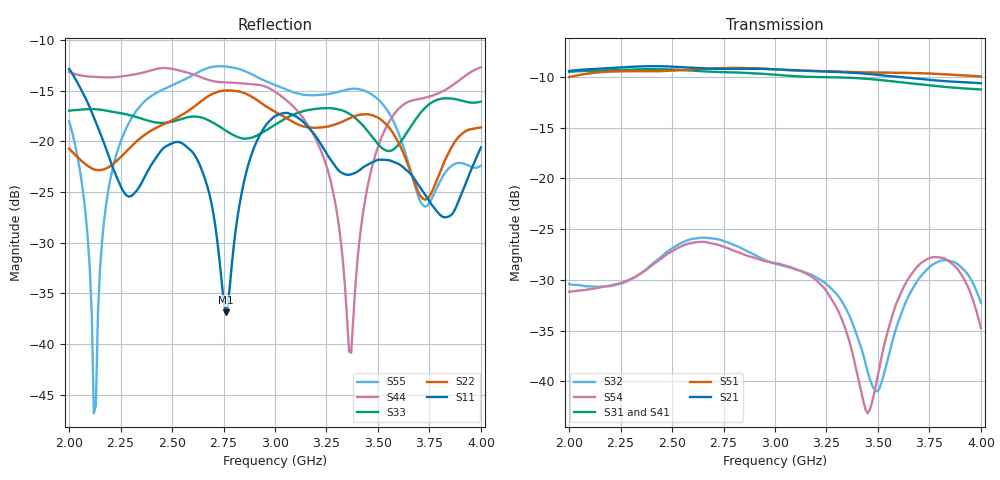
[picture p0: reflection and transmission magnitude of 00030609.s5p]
! Created with skrf 1.8.0 (http://scikit-rf.org).
# Hz S RI R 50.0
!freq ReS11 ImS11 ReS12 ImS12 ReS13 ImS13
! ReS14 ImS14 ReS15 ImS15
! ReS21 ImS21 ReS22 ImS22 ReS23 ImS23
! ReS24 ImS24 ReS25 ImS25
! ReS31 ImS31 ReS32 ImS32 ReS33 ImS33
! ReS34 ImS34 ReS35 ImS35
! ReS41 ImS41 ReS42 ImS42 ReS43 ImS43
! ReS44 ImS44 ReS45 ImS45
! ReS51 ImS51 ReS52 ImS52 ReS53 ImS53
! ReS54 ImS54 ReS55 ImS55
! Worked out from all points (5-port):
!   201 points, 2 GHz to 4 GHz, reference 50 ohm
!   strongest paths, dB at 2 GHz, 2.5 GHz, 3 GHz, 3.5 GHz, 4 GHz:
!     S21: -9.4, -9.0, -9.2, -9.8, -10.6
!     S51: -10.0, -9.4, -9.3, -9.6, -10.0
!     S31: -9.5, -9.3, -9.8, -10.3, -11.2
!     S41: -9.1, -9.2, -9.9, -10.4, -11.6
!     S54: -31.2, -27.2, -28.4, -39.4, -34.8
!     S32: -30.4, -26.9, -28.4, -40.9, -32.3
!   lowest |S11| = -36.9 dB at 2.76 GHz (marker M1), VSWR 1.03, Z = 48.9 + j0.917 ohm
!   |S11| at or under -10 dB: start of sweep to end of sweep
